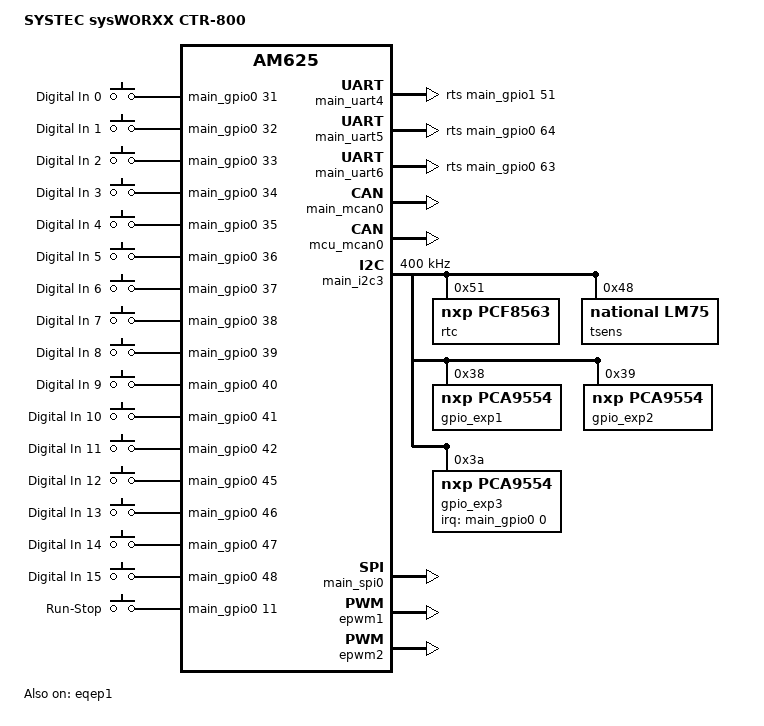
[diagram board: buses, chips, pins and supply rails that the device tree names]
/*
 * Copyright (C) 2023 SYSTEC electronic AG, All Rights Reserved
 *
 * This program is free software; you can redistribute it and/or modify
 * it under the terms of the GNU General Public License version 2 as
 * published by the Free Software Foundation.
 */
/dts-v1/;

#include <dt-bindings/input/input.h>

#include "k3-am625.dtsi"
#include "k3-am623-systec-ctr800-pinmux-0.dtsi"
#include "k3-am623-systec-ctr-common.dtsi"

/ {
	model = "SYSTEC sysWORXX CTR-800";
	compatible = "systec,ctr800,rev0", "systec,ctr800", "ti,am625";

	aliases {
		// serial0 = &mcu_uart0;
		// serial2 = &main_uart0;
		serial4 = &main_uart4;
		serial5 = &main_uart5;
		serial6 = &main_uart6;
		rtc0 = &rtc;
		rtc1 = &wkup_rtc0;
	};
};

// SERIAL0
&main_uart4 {
	pinctrl-names = "default";
	pinctrl-0 = <&uart4_serial0_pins_default>;
	status = "okay";
	rts-gpios = <&main_gpio1 51 GPIO_ACTIVE_HIGH>;
	sermode-gpio = <&gpio_exp2 0 GPIO_ACTIVE_HIGH>;
	systec,rs485-half-duplex-stop-rx;
};

// SERIAL1
&main_uart5 {
	pinctrl-names = "default";
	pinctrl-0 = <&uart5_serial1_pins_default>;
	status = "okay";
	rts-gpios = <&main_gpio0 64 GPIO_ACTIVE_HIGH>;
	sermode-gpio = <&gpio_exp2 1 GPIO_ACTIVE_HIGH>;
	systec,rs485-half-duplex-stop-rx;
};

// SERIAL2
&main_uart6 {
	pinctrl-names = "default";
	pinctrl-0 = <&uart6_serial2_pins_default>;
	status = "okay";
	rts-gpios = <&main_gpio0 63 GPIO_ACTIVE_HIGH>;
	sermode-gpio = <&gpio_exp2 2 GPIO_ACTIVE_HIGH>;
	systec,rs485-half-duplex-stop-rx;
};

// CAN0
&main_mcan0 {
	pinctrl-names = "default";
	pinctrl-0 = <&mcan0_pins_default>;
	status = "okay";
};

// CAN1
&mcu_mcan0 {
	pinctrl-names = "default";
	pinctrl-0 = <&mcumcan0_pins_default>;
	status = "okay";
};

// I2C3_BOARD
&main_i2c3 {
	status = "okay";
	pinctrl-names = "default";
	pinctrl-0 = <&i2c3board_pins_default>;
	clock-frequency = <400000>;

	/* RTC */
	rtc: pcf8563@51 {
		compatible = "nxp,pcf8563";
		reg = <0x51>;
	};

	/* Temperature sensor */
	tsens: lm75b@48 {
		compatible = "national,lm75";
		reg = <0x48>;
	};

	/* I/O expander for current/voltage switch (ADC) */
	gpio_exp1: pca9554@38 {
		compatible = "nxp,pca9554";
		reg = <0x38>;
		gpio-controller;
		#gpio-cells = <2>;
		gpio-line-names =
			"EN_U0", "EN_U1", "EN_U2", "EN_U3",
			"EN_I0", "EN_I1", "EN_I2", "EN_I3";
	};

	/* I/O expander for RS232/485 switching and DI filter configuration */
	gpio_exp2: pca9554@39 {
		compatible = "nxp,pca9554";
		reg = <0x39>;
		gpio-controller;
		#gpio-cells = <2>;
		gpio-line-names =
			"SER0_MODE", "SER1_MODE", "SER2_MODE", "DS0",
			"DS1",       "",          "",          "";
	};

	/* I/O expander for diagnose */
	gpio_exp3: pca9554@3a {
		compatible = "nxp,pca9554";
		reg = <0x3a>;
		gpio-controller;
		#gpio-cells = <2>;
		gpio-line-names =
			"DO0_PF", "DO_DIAG", "/DI_ERR", "USB1_OC",
			"",       "",        "",        "";
		interrupt-controller;
		#interrupt-cells = <2>;
		interrupt-parent = <&main_gpio0>;
		interrupts = <0 IRQ_TYPE_EDGE_FALLING>;
		// https://e2e.ti.com/support/processors-group/processors/f/processors-forum/1262930/am625-request_irq-return--22
	};
};

&main_spi0 {
	status = "okay";
	pinctrl-names = "default";
	pinctrl-0 = <&spi0_pins_default>;
	#address-cells = <1>;
	#size-cells = <0>;
	cs-gpios = <&main_gpio0 7 GPIO_ACTIVE_LOW>;

	// spidev@0 {
	// 	spi-max-frequency = <1000000>;
	// 	reg = <0>;
	// };
};

&epwm1 {
	pinctrl-names = "default";
	pinctrl-0 = <&pwm1do14_pins_default>;
	status = "okay";
};

&epwm2 {
	pinctrl-names = "default";
	pinctrl-0 = <&pwm2do15_pins_default>;
	status = "okay";
};

&eqep1 {
	pinctrl-names = "default";
	pinctrl-0 = <&eqep0di14di15_pins_default>;
	status = "okay";
};

&main_gpio0 {
	pinctrl-names = "default";
	pinctrl-0 = <&gpio0_pins_default>;
	gpio-line-names      =
		"/COM_DIAG_INT", "DO_10",    "",        "RELAY0_EN",     // 0
		"RELAY1_EN",     "LED_RUN",  "LED_ERR", "SPI2_SS",       // 4
		"",              "",         "",        "RUN_SW",        // 8
		"/BOOT",         "SER1_RX",  "SER1_TX", "",              // 12
		"",              "DO_9",     "",        "DO_12",         // 16
		"DO_13",         "",         "",        "",              // 20
		"",              "",         "DO_11",   "",              // 24
		"",              "",         "",        "DI_0",          // 28
		"DI_1",          "DI_2",     "DI_3",    "DI_4",          // 32
		"DI_5",          "DI_6",     "DI_7",    "DI_8",          // 36
		"DI_9",          "DI_10",    "DI_11",   "/PF",           // 40
		"",              "DI_12",    "DI_13",   "DI_14",         // 44
		"DI_15",         "SER0_RX",  "SER0_TX", "DO_2",          // 48
		"DO_3",          "SER2_RX",  "SER2_TX", "SER2_RTS",      // 52
		"SER2_CTS",      "DO_4",     "DO_5",    "DO_6",          // 56
		"DO_7",          "DO_8",     "/CONFIG", "SER2_DEN",      // 60
		"SER1_DEN",      "",         "",        "",              // 64
		"",              "",         "",        "WLAN_/DISABLE", // 68
		"BT_REG_ON",     "",         "",        "",              // 72
		"",              "",         "",        "",              // 76
		"",              "",         "",        "",              // 80
		"",              "ETH_MDIO", "ETH_MDC", "",              // 84
		"",              "",         "",        "";              // 88
};

&main_gpio1 {
	pinctrl-names = "default";
	pinctrl-0 = <&gpio1_pins_default>;
	gpio-line-names =
		"",            "",           "",               "",               // 0
		"",            "",           "",               "",               // 4
		"",            "DO_14_PWM",  "eMMC_/RST",      "DI_14_PHA_A",    // 8
		"DI_15_PHA_B", "",           "",               "ETH0_/RST",      // 12
		"",            "SPI2_SCLK",  "SPI2_MOSI",      "SPI2_MISO",      // 16
		"SERVICE_RX",  "SERVICE_TX", "I2C3_BOARD_SCL", "I2C3_BOARD_SDA", // 20
		"MCAN0_TX",    "MCAN0_RX",   "I2C0_SOM_SCL",   "I2C0_SOM_SDA",   // 24
		"DO_15_PWM",   "ETH1_/RST",  "",               "",               // 28
		"",            "",           "",               "",               // 32
		"",            "",           "",               "",               // 36
		"",            "",           "",               "",               // 40
		"",            "",           "",               "",               // 44
		"",            "",           "",               "SER0_DEN",       // 48
		"",            "",           "",               "",               // 52
		"",            "",           "",               "",               // 56
		"",            "",           "",               "",               // 60
		"",            "",           "",               "",               // 64
		"",            "",           "",               "",               // 68
		"",            "",           "",               "",               // 72
		"",            "",           "",               "",               // 76
		"",            "",           "",               "",               // 80
		"",            "",           "",               "",               // 84
		"",            "",           "",               "";               // 88
};

&mcu_gpio0 {
	pinctrl-names = "default";
	pinctrl-0 = <&mcugpio0_pins_default>;
	gpio-line-names =
		"",       "",             "DO_0",         "DO_1",   // 0
		"",       "BT_RX",        "BT_TX",        "BT_CTS", // 4
		"BT_RTS", "",             "",             "",       // 8
		"",       "MCU_MCAN0_TX", "MCU_MCAN0_RX", "",       // 12
		"",       "",             "",             "",       // 16
		"",       "",             "",             "";       // 20
};

/ {
	gpio_input {
		compatible = "gpio-keys";
		status = "okay";

		di@0  { label = "Digital In 0";  linux,code = <KEY_F1>;  gpios = <&main_gpio0 31 GPIO_ACTIVE_HIGH>; };
		di@1  { label = "Digital In 1";  linux,code = <KEY_F2>;  gpios = <&main_gpio0 32 GPIO_ACTIVE_HIGH>; };
		di@2  { label = "Digital In 2";  linux,code = <KEY_F3>;  gpios = <&main_gpio0 33 GPIO_ACTIVE_HIGH>; };
		di@3  { label = "Digital In 3";  linux,code = <KEY_F4>;  gpios = <&main_gpio0 34 GPIO_ACTIVE_HIGH>; };
		di@4  { label = "Digital In 4";  linux,code = <KEY_F5>;  gpios = <&main_gpio0 35 GPIO_ACTIVE_HIGH>; };
		di@5  { label = "Digital In 5";  linux,code = <KEY_F6>;  gpios = <&main_gpio0 36 GPIO_ACTIVE_HIGH>; };
		di@6  { label = "Digital In 6";  linux,code = <KEY_F7>;  gpios = <&main_gpio0 37 GPIO_ACTIVE_HIGH>; };
		di@7  { label = "Digital In 7";  linux,code = <KEY_F8>;  gpios = <&main_gpio0 38 GPIO_ACTIVE_HIGH>; };
		di@8  { label = "Digital In 8";  linux,code = <KEY_F9>;  gpios = <&main_gpio0 39 GPIO_ACTIVE_HIGH>; };
		di@9  { label = "Digital In 9";  linux,code = <KEY_F10>; gpios = <&main_gpio0 40 GPIO_ACTIVE_HIGH>; };
		di@10 { label = "Digital In 10"; linux,code = <KEY_F11>; gpios = <&main_gpio0 41 GPIO_ACTIVE_HIGH>; };
		di@11 { label = "Digital In 11"; linux,code = <KEY_F12>; gpios = <&main_gpio0 42 GPIO_ACTIVE_HIGH>; };
		di@12 { label = "Digital In 12"; linux,code = <KEY_F13>; gpios = <&main_gpio0 45 GPIO_ACTIVE_HIGH>; };
		di@13 { label = "Digital In 13"; linux,code = <KEY_F14>; gpios = <&main_gpio0 46 GPIO_ACTIVE_HIGH>; };
		di@14 { label = "Digital In 14"; linux,code = <KEY_F15>; gpios = <&main_gpio0 47 GPIO_ACTIVE_HIGH>; };
		di@15 { label = "Digital In 15"; linux,code = <KEY_F16>; gpios = <&main_gpio0 48 GPIO_ACTIVE_HIGH>; };
		runstop { label = "Run-Stop";    linux,code = <KEY_1>;   gpios = <&main_gpio0 11 GPIO_ACTIVE_HIGH>; };
	};
};
